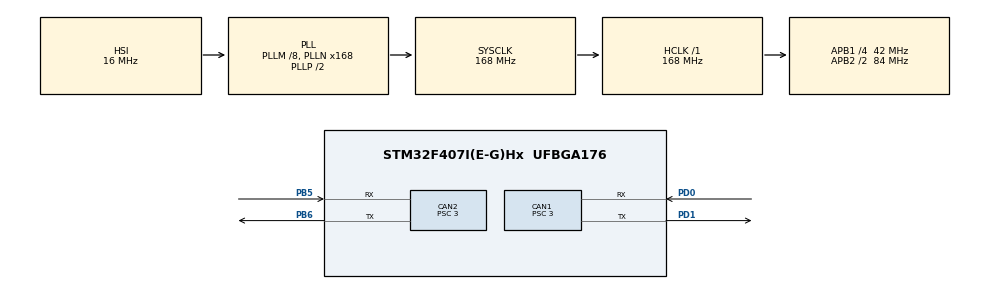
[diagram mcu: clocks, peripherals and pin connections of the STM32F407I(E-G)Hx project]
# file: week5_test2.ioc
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CAN1.BS1=CAN_BS1_10TQ
CAN1.BS2=CAN_BS2_3TQ
CAN1.CalculateBaudRate=1000000
CAN1.CalculateTimeBit=1000
CAN1.CalculateTimeQuantum=71.42857142857143
CAN1.Prescaler=3
CAN2.BS1=CAN_BS1_10TQ
CAN2.BS2=CAN_BS2_3TQ
CAN2.CalculateBaudRate=1000000
CAN2.CalculateTimeBit=1000
CAN2.CalculateTimeQuantum=71.42857142857143
CAN2.Prescaler=3
CAN2.TXFP=ENABLE
Mcu.Family=STM32F4
Mcu.Name=STM32F407I(E-G)Hx
Mcu.Package=UFBGA176
NVIC.CAN1_RX0_IRQn=true\:0\:0\:false\:false\:true\:true\:true\:true
NVIC.CAN1_RX1_IRQn=true\:0\:0\:false\:false\:true\:true\:true\:true
NVIC.PriorityGroup=NVIC_PRIORITYGROUP_4
PA13.Mode=Serial_Wire
PA13.Signal=SYS_JTMS-SWDIO
PA14.Mode=Serial_Wire
PA14.Signal=SYS_JTCK-SWCLK
PB5.Mode=CAN_Activate
PB5.Signal=CAN2_RX
PB6.Mode=CAN_Activate
PB6.Signal=CAN2_TX
PD0.Mode=CAN_Activate
PD0.Signal=CAN1_RX
PD1.Mode=CAN_Activate
PD1.Signal=CAN1_TX
PH0-OSC_IN.Mode=HSE-External-Oscillator
PH0-OSC_IN.Signal=RCC_OSC_IN
PH1-OSC_OUT.Mode=HSE-External-Oscillator
PH1-OSC_OUT.Signal=RCC_OSC_OUT
ProjectManager.HeapSize=0x200
ProjectManager.StackSize=0x400
ProjectManager.TargetToolchain=Makefile
RCC.48MHZClocksFreq_Value=84000000
RCC.AHBFreq_Value=168000000
RCC.APB1CLKDivider=RCC_HCLK_DIV4
RCC.APB1Freq_Value=42000000
RCC.APB1TimFreq_Value=84000000
RCC.APB2CLKDivider=RCC_HCLK_DIV2
RCC.APB2Freq_Value=84000000
RCC.APB2TimFreq_Value=168000000
RCC.CortexFreq_Value=168000000
RCC.HCLKFreq_Value=168000000
RCC.HSE_VALUE=12000000
RCC.HSI_VALUE=16000000
RCC.LSE_VALUE=32768
RCC.PLLM=8
RCC.PLLN=168
RCC.SYSCLKFreq_VALUE=168000000
RCC.SYSCLKSource=RCC_SYSCLKSOURCE_PLLCLK
RCC.VCOOutputFreq_Value=336000000
board=custom

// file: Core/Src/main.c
/* USER CODE BEGIN Header */
/**
  ******************************************************************************
  * @file           : main.c
  * @brief          : Main program body
  ******************************************************************************
  * @attention
  *
  * Copyright (c) 2026 STMicroelectronics.
  * All rights reserved.
  *
  * This software is licensed under terms that can be found in the LICENSE file
  * in the root directory of this software component.
  * If no LICENSE file comes with this software, it is provided AS-IS.
  *
  ******************************************************************************
  */
/* USER CODE END Header */
#include "main.h"
#include "can.h"
#include "gpio.h"

/* USER CODE BEGIN Includes */
#include "memory.h"
#include "stdlib.h"
#include "math.h"
/* USER CODE END Includes */

/* USER CODE BEGIN PTD */
typedef struct
{
  CAN_HandleTypeDef *can_handle; // can句柄
  CAN_TxHeaderTypeDef txconf;    //can报文发送配置
  uint32_t tx_id;                // 发送id
  uint32_t tx_mailbox;           // CAN消息填入的邮箱号
  uint8_t tx_buff[8];            // 发送缓存
  uint8_t rx_buff[8];            // 接收缓存
  uint32_t rx_id;                // 接收id
  uint8_t rx_len;                // 接收长度,可能为0-8
} CANInstance;

/* 2. DJI电机CAN反馈信息结构*/
typedef struct
{
  // 原始数据
  uint16_t ecd;                  // 0-8191,刻度总共有8192格
  int16_t speed_rpm;             // 转速,单位为rpm
  int16_t real_current;          // 实际电流
  float   current_amp;           //实际电流, 单位A (20A/16384 换算)
  uint8_t temperature;           // 温度 Celsius

  // 处理后的数据
  float   real_current_handle;
  float speed_aps;               // 角速度（度/秒）
  uint16_t last_ecd;             // 上一次读取的编码器值
  float angle_single_round;      // 单圈角度
  float total_angle;             // 总角度,注意方向
  int32_t total_round;           // 总圈数,注意方向
} DJI_Motor_Measure_s;

#define PI 3.14159265358979f
/* USER CODE END PTD */

/* USER CODE BEGIN PV */
float t = 0.0f; // 用于正弦波计算的时间变量
CANInstance motor1;
DJI_Motor_Measure_s motor1_measure;
int16_t current;
float current_filter = 0.9f;

/* USER CODE END PV */

void SystemClock_Config(void);
/* USER CODE BEGIN PFP */
void MotorDataRead(void)
{
    if (motor1.rx_len < 7) return;   //  固定 8 字节

    // 1. 提取转子机械角度 (0~8191)
    // 高字节在前，低字节在后，组合成16位无符号整数
    motor1_measure.ecd = (uint16_t)((motor1.rx_buff[0] << 8) | motor1.rx_buff[1]);

    // 2. 提取转子转速(RPM)，注意这里是有符号数，需要强制转换
    motor1_measure.speed_rpm = (int16_t)((motor1.rx_buff[2] << 8) | motor1.rx_buff[3]);

    // 3. 提取实际转矩电流: 原始值存 real_current, 安培值存 current_amp
    int16_t raw_current = (int16_t)((motor1.rx_buff[4] << 8) | motor1.rx_buff[5]);
    motor1_measure.real_current = raw_current;
    motor1_measure.current_amp  = raw_current * 20.0f / 16384.0f;

    // 4. 提取电机温度
    motor1_measure.temperature = motor1.rx_buff[6];

    // 计算单圈角度：ecd / 8192 * 360
    motor1_measure.angle_single_round = (float)motor1_measure.ecd * 360.0f / 8192.0f;
}
/* USER CODE END PFP */

int main(void)
{

  /* MCU Configuration--------------------------------------------------------*/

  /* Reset of all peripherals, Initializes the Flash interface and the Systick. */
  HAL_Init();

  /* Configure the system clock */
  SystemClock_Config();

  /* Initialize all configured peripherals */
  MX_GPIO_Init();
  MX_CAN1_Init();
  MX_CAN2_Init();
  /* USER CODE BEGIN 2 */
 /* 1. 初始化CAN服务 */
  HAL_CAN_Start(&hcan1);
  HAL_CAN_ActivateNotification(&hcan1, CAN_IT_RX_FIFO0_MSG_PENDING);
  HAL_CAN_ActivateNotification(&hcan1, CAN_IT_RX_FIFO1_MSG_PENDING);

  HAL_CAN_Start(&hcan2);
  HAL_CAN_ActivateNotification(&hcan2, CAN_IT_RX_FIFO0_MSG_PENDING);
  HAL_CAN_ActivateNotification(&hcan2, CAN_IT_RX_FIFO1_MSG_PENDING);

  /* 2. 配置电机的基本参数 */
  motor1.txconf.StdId = 0x200;               // 发送id (控制报文)
  motor1.txconf.IDE = CAN_ID_STD;            // 使用标准id
  motor1.txconf.RTR = CAN_RTR_DATA;          // 发送数据帧
  motor1.txconf.DLC = 8;                     // 发送长度为8
  motor1.can_handle = &hcan1;
  motor1.tx_id = 0x200;
  motor1.rx_id = 0x201;                      // 接收id (反馈报文)

  /* 3. 配置这个电机的过滤器 */
  CAN_FilterTypeDef can_filter_conf;
  static uint8_t can1_filter_idx = 0, can2_filter_idx = 14; // 0-13给can1用,14-27给can2用
  can_filter_conf.FilterMode = CAN_FILTERMODE_IDLIST;
  can_filter_conf.FilterScale = CAN_FILTERSCALE_16BIT;
  can_filter_conf.FilterFIFOAssignment = (motor1.tx_id & 1) ? CAN_RX_FIFO0 : CAN_RX_FIFO1;
  can_filter_conf.SlaveStartFilterBank = 14;

  can_filter_conf.FilterIdLow      = motor1.rx_id << 5;
  can_filter_conf.FilterIdHigh     = motor1.rx_id << 5;
  can_filter_conf.FilterMaskIdLow  = motor1.rx_id << 5;
  can_filter_conf.FilterMaskIdHigh = motor1.rx_id << 5;
  can_filter_conf.FilterBank = motor1.can_handle == &hcan1 ? (can1_filter_idx++) : (can2_filter_idx++);
  can_filter_conf.FilterActivation = CAN_FILTER_ENABLE;
  /* USER CODE END 2 */

  /* Infinite loop */
  while (1)
  {

    /* USER CODE BEGIN 3 */
    current = (int16_t)(1000.0f * sin(t * PI));
    t += 0.02f;

    if (HAL_CAN_GetTxMailboxesFreeLevel(motor1.can_handle) == 0)
    {
        // 等待邮箱空闲
    }
    else
    {
      motor1.tx_buff[0] = (uint8_t)(current >> 8);      //高八位
      motor1.tx_buff[1] = (uint8_t)(current & 0x00ff);  //低八位
      motor1.tx_buff[2] = 0;
      motor1.tx_buff[3] = 0;
      motor1.tx_buff[4] = 0;
      motor1.tx_buff[5] = 0;
      motor1.tx_buff[6] = 0;
      motor1.tx_buff[7] = 0;

      HAL_CAN_AddTxMessage(motor1.can_handle, &motor1.txconf, motor1.tx_buff, &motor1.tx_mailbox);

    }
    HAL_Delay(10);
  }
  /* USER CODE END 3 */
}

void SystemClock_Config(void)
{
  RCC_OscInitTypeDef RCC_OscInitStruct = {0};
  RCC_ClkInitTypeDef RCC_ClkInitStruct = {0};

  /** Configure the main internal regulator output voltage
  */
  __HAL_RCC_PWR_CLK_ENABLE();
  __HAL_PWR_VOLTAGESCALING_CONFIG(PWR_REGULATOR_VOLTAGE_SCALE1);

  /** Initializes the RCC Oscillators according to the specified parameters
  * in the RCC_OscInitTypeDef structure.
  */
  RCC_OscInitStruct.OscillatorType = RCC_OSCILLATORTYPE_HSI;
  RCC_OscInitStruct.HSIState = RCC_HSI_ON;
  RCC_OscInitStruct.HSICalibrationValue = RCC_HSICALIBRATION_DEFAULT;
  RCC_OscInitStruct.PLL.PLLState = RCC_PLL_ON;
  RCC_OscInitStruct.PLL.PLLSource = RCC_PLLSOURCE_HSI;
  RCC_OscInitStruct.PLL.PLLM = 8;
  RCC_OscInitStruct.PLL.PLLN = 168;
  RCC_OscInitStruct.PLL.PLLP = RCC_PLLP_DIV2;
  RCC_OscInitStruct.PLL.PLLQ = 4;
  if (HAL_RCC_OscConfig(&RCC_OscInitStruct) != HAL_OK)
  {
    Error_Handler();
  }

  /** Initializes the CPU, AHB and APB buses clocks
  */
  RCC_ClkInitStruct.ClockType = RCC_CLOCKTYPE_HCLK|RCC_CLOCKTYPE_SYSCLK
                              |RCC_CLOCKTYPE_PCLK1|RCC_CLOCKTYPE_PCLK2;
  RCC_ClkInitStruct.SYSCLKSource = RCC_SYSCLKSOURCE_PLLCLK;
  RCC_ClkInitStruct.AHBCLKDivider = RCC_SYSCLK_DIV1;
  RCC_ClkInitStruct.APB1CLKDivider = RCC_HCLK_DIV4;
  RCC_ClkInitStruct.APB2CLKDivider = RCC_HCLK_DIV2;

  if (HAL_RCC_ClockConfig(&RCC_ClkInitStruct, FLASH_LATENCY_5) != HAL_OK)
  {
    Error_Handler();
  }
}

/* USER CODE BEGIN 4 */
/* 中断回调函数：处理接收到的数据并解析 */
static void CANFIFOxCallback(CAN_HandleTypeDef *hcan, uint32_t fifox)
{
  static CAN_RxHeaderTypeDef rxconf;
  uint8_t can_rx_buff[8];

  // 只要 FIFO 不为空，就一直把数据读出
  while (HAL_CAN_GetRxFifoFillLevel(hcan, fifox))
  {
    HAL_CAN_GetRxMessage(hcan, fifox, &rxconf, can_rx_buff); // 从FIFO中获取数

    // 如果句柄匹配，且接收到的ID符合
    if (hcan == motor1.can_handle && rxconf.StdId == motor1.rx_id)
    {
      motor1.rx_len = rxconf.DLC;
      memcpy(motor1.rx_buff, can_rx_buff, rxconf.DLC); // 消息拷贝到对应实例
      motor1_measure.last_ecd = motor1_measure.ecd;

      // 解析电机数据(实现见文件开头 MotorDataRead)
      MotorDataRead();

      // 角速度一阶低通滤波
      motor1_measure.speed_aps = (1.0f - 0.85f) * motor1_measure.speed_aps + 0.85f * (360.0f / 60.0f) * (float)motor1_measure.speed_rpm;

      // 电流一阶低通滤波
      motor1_measure.real_current_handle = (1.0f - current_filter) * motor1_measure.real_current_handle + current_filter * (float)motor1_measure.real_current;  // [改动5] 用原始计数滤�??: �?? real_current / current 同量�??, 三条曲线才能在同�??坐标系对�??

      // 多圈角度计算 (利用跨度阈值判断是否越过零点)
      if (motor1_measure.ecd - motor1_measure.last_ecd > 4096)
      {
        motor1_measure.total_round--;
      }
      else if (motor1_measure.ecd - motor1_measure.last_ecd < -4096)
      {
        motor1_measure.total_round++;
      }

      motor1_measure.total_angle = motor1_measure.total_round * 360 + motor1_measure.angle_single_round;
    }
  }
  return;
}

// 这两个HAL 库的弱函数，其实就是用来调用上面那个封装好的 CANFIFOxCallback
void HAL_CAN_RxFifo0MsgPendingCallback(CAN_HandleTypeDef *hcan)
{
    CANFIFOxCallback(hcan, CAN_RX_FIFO0);
}

void HAL_CAN_RxFifo1MsgPendingCallback(CAN_HandleTypeDef *hcan)
{
    CANFIFOxCallback(hcan, CAN_RX_FIFO1);
}
/* USER CODE END 4 */

void Error_Handler(void)
{
  /* USER CODE BEGIN Error_Handler_Debug*/
  __disable_irq();
  while (1)
  {
  }
  /* USER CODE END Error_Handler_Debug */
}
